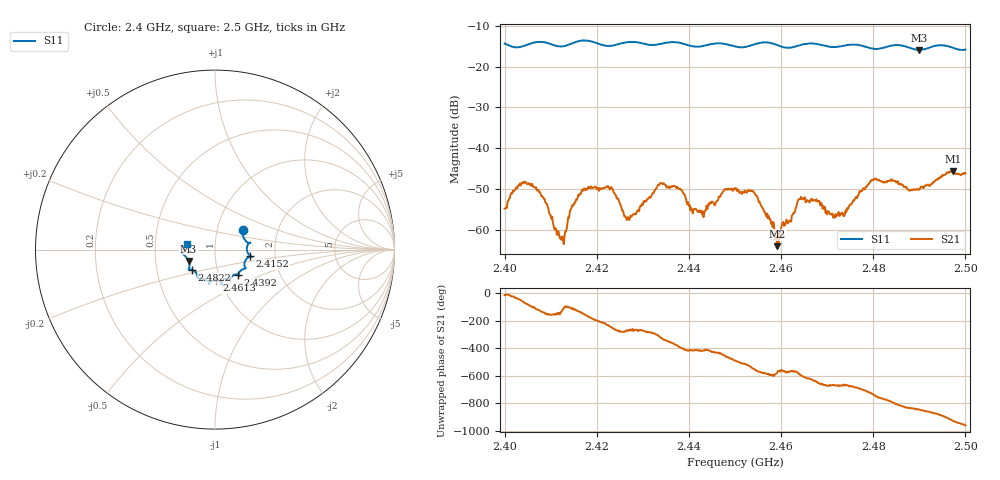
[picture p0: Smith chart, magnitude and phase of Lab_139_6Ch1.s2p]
# Hz S RI R 50
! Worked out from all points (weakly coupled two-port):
!   601 points, 2.4 GHz to 2.5 GHz, reference 50 ohm
!   highest |S21| = -45.63 dB at 2.4973 GHz (marker M1); lowest = -64.0 dB at 2.4592 GHz (marker M2)
!   lowest |S11| = -15.9 dB at 2.49 GHz (marker M3), VSWR 1.38, Z = 36.9 - j4.86 ohm
!   |S11| at or under -10 dB: start of sweep to end of sweep
!   S12 and S22 are empty: the file has one direction only
!   S11 on the Smith chart (normalised r, x): 2.4 GHz: 1.33, +0.31; 2.4152 GHz: 1.48, -0.11; 2.4392 GHz: 1.23, -0.36; 2.4613 GHz: 0.96, -0.34; 2.4822 GHz: 0.76, -0.17; 2.5 GHz: 0.72, +0.05
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2.4e9  0.1564 0.1112  0.00177 -0.000433  0 0  0 0
2.405667e9  0.1887 0.037  -0.000237 -0.00365  0 0  0 0
2.4125e9  0.1775 -0.000856  -0.000477 -0.000678  0 0  0 0
2.415167e9  0.1951 -0.0354  -0.00112 -0.00183  0 0  0 0
2.416667e9  0.2046 -0.0416  -0.00231 -0.00173  0 0  0 0
2.422833e9  0.1654 -0.0705  -0.0015 0.00273  0 0  0 0
2.426667e9  0.1711 -0.1033  5.52e-05 0.00142  0 0  0 0
2.433333e9  0.1332 -0.1325  0.00218 0.00284  0 0  0 0
2.439167e9  0.1271 -0.1388  0.00167 -0.00199  0 0  0 0
2.443e9  0.0903 -0.1547  0.000895 -0.00143  0 0  0 0
2.45e9  0.0685 -0.1636  -0.00205 -0.00253  0 0  0 0
2.454333e9  0.0348 -0.186  -0.00265 0.000747  0 0  0 0
2.459167e9  0.0328 -0.1813  -0.000505 0.000378  0 0  0 0
2.461333e9  0.00774 -0.1705  -0.00102 0.00075  0 0  0 0
2.464e9  -0.0265 -0.181  -0.00169 0.00171  0 0  0 0
2.466667e9  -0.0331 -0.19  -7.56e-05 0.00241  0 0  0 0
2.473333e9  -0.0803 -0.1606  0.00107 0.00122  0 0  0 0
2.482167e9  -0.1282 -0.1121  0.00256 -0.00281  0 0  0 0
2.483333e9  -0.1394 -0.1105  0.00192 -0.00348  0 0  0 0
2.49e9  -0.147 -0.0641  -0.00183 -0.00252  0 0  0 0
2.497333e9  -0.1701 -0.00795  -0.00461 0.00248  0 0  0 0
2.5e9  -0.1585 0.0337  -0.00241 0.00431  0 0  0 0
